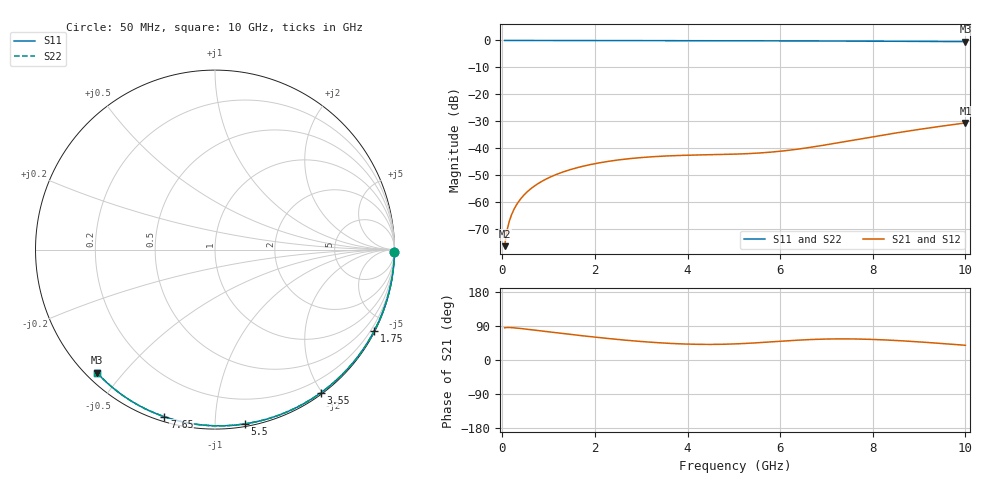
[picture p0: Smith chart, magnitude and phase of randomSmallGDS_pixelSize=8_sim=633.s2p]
! freq	dB(S11)	phase(S11)	dB(S12)	phase(S12)
!  dB(S21)	phase(S21)	dB(S22)	phase(S22)
!S-par simulation data
#  GHz  S  DB  R 50
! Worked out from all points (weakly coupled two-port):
!   200 points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, 50 MHz to 10 GHz, reference 50 ohm
!   highest |S21| = -30.61 dB at 10 GHz (marker M1); lowest = -76.3 dB at 50 MHz (marker M2)
!   lowest |S11| = -0.4 dB at 10 GHz (marker M3), VSWR 39.15, Z = 1.51 - j21.3 ohm
!   |S11| at or under -10 dB: nowhere
!   |S22| runs from -0.4 to 0.0 dB; largest |S21 - S12| = 0
!   S11 on the Smith chart (normalised r, x): 50 MHz: open; 1.75 GHz: 0.04, -4.15; 3.55 GHz: 0.02, -1.98; 5.5 GHz: 0.02, -1.19; 7.65 GHz: 0.02, -0.74; 10 GHz: 0.03, -0.43
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0.05  -0.00 -0.8  -76.35 84.9  -76.35 84.9  -0.00 -0.8
0.1  -0.00 -1.6  -70.60 85.7  -70.60 85.7  -0.00 -1.6
0.15  -0.00 -2.4  -67.15 85.8  -67.15 85.8  -0.00 -2.4
0.2  -0.00 -3.2  -64.68 85.5  -64.68 85.5  -0.00 -3.2
0.25  -0.00 -3.9  -62.76 85.0  -62.76 85.0  -0.00 -3.9
0.35  -0.00 -5.5  -59.87 83.7  -59.87 83.7  -0.00 -5.5
0.5  -0.01 -7.9  -56.81 81.7  -56.81 81.7  -0.01 -7.9
0.7  -0.01 -11.0  -53.95 78.8  -53.95 78.8  -0.01 -11.0
1  -0.02 -15.6  -50.98 74.4  -50.98 74.4  -0.02 -15.6
1.35  -0.03 -21.0  -48.59 69.3  -48.59 69.3  -0.03 -21.0
1.75  -0.03 -27.1  -46.65 63.7  -46.65 63.7  -0.03 -27.1
2.5  -0.05 -38.3  -44.36 54.1  -44.36 54.1  -0.05 -38.3
3.4  -0.07 -51.5  -43.00 45.4  -43.00 45.4  -0.07 -51.5
3.55  -0.07 -53.6  -42.87 44.3  -42.87 44.3  -0.07 -53.6
4.3  -0.09 -64.1  -42.47 41.2  -42.47 41.2  -0.09 -64.1
5.05  -0.11 -74.3  -42.18 42.6  -42.18 42.6  -0.11 -74.3
5.5  -0.13 -80.2  -41.82 45.4  -41.82 45.4  -0.13 -80.2
6.05  -0.15 -87.2  -41.03 49.8  -41.03 49.8  -0.15 -87.2
6.7  -0.18 -95.4  -39.54 54.2  -39.54 54.2  -0.18 -95.4
7.65  -0.24 -106.9  -36.80 55.4  -36.80 55.4  -0.24 -106.9
8.35  -0.29 -115.1  -34.76 52.5  -34.76 52.5  -0.29 -115.1
10  -0.44 -133.9  -30.61 38.8  -30.61 38.8  -0.44 -133.9
